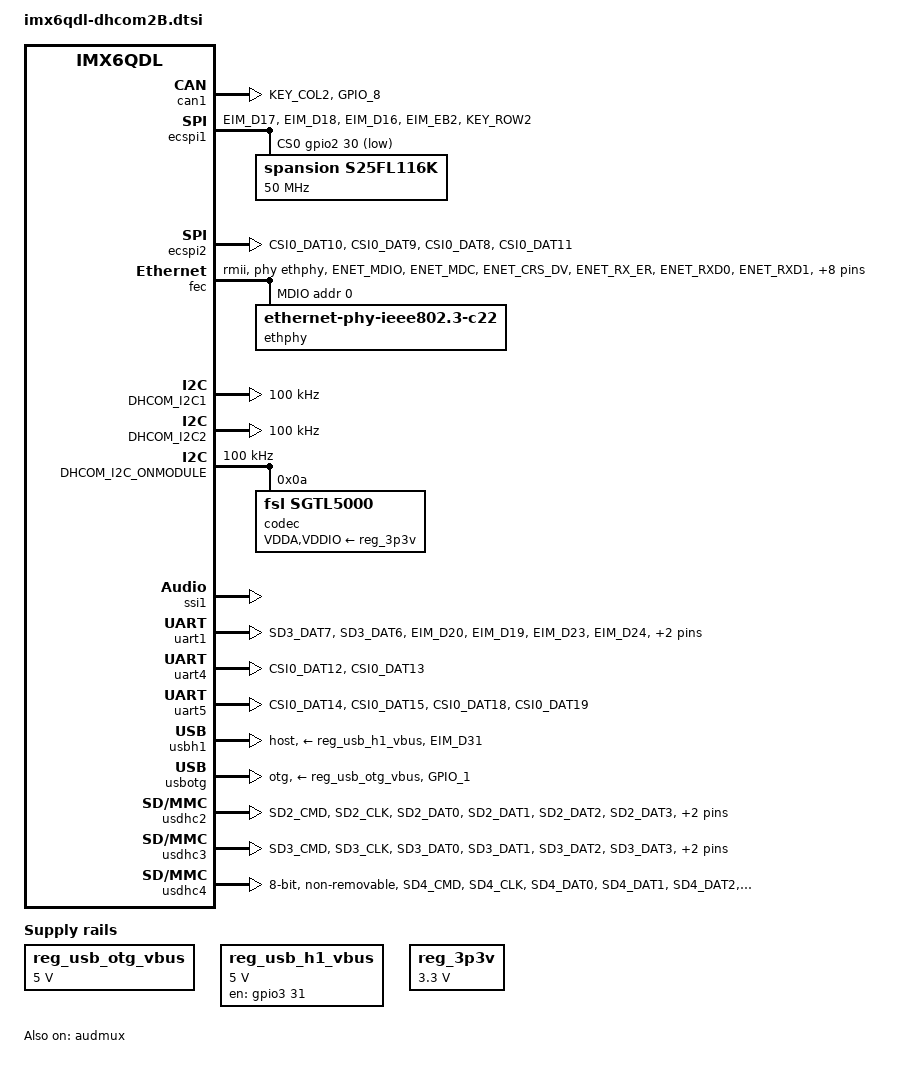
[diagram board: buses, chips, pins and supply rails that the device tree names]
/*
 * Copyright 2015 DH electronics GmbH
 *
 * The code contained herein is licensed under the GNU General Public
 * License. You may obtain a copy of the GNU General Public License
 * Version 2 or later at the following locations:
 *
 * http://www.opensource.org/licenses/gpl-license.html
 * http://www.gnu.org/copyleft/gpl.html
 */
#include <dt-bindings/gpio/gpio.h>
#include <dt-bindings/clock/imx6qdl-clock.h>
#define DHCOM_HW200								// Use it in other device tree files, e.g. imx6qdl-dhcom_cfg-xxxx.dtsi

/ {
	aliases {
		mmcblk0 = &usdhc2;
		mmcblk1 = &usdhc3;
		mmcblk2 = &usdhc4;
		mmcblk3 = &usdhc1; 						// Unused at dhcom, put at the end to be compatible with uboot
	};

	memory {
		reg = <0 0>;							// Will be filled by uboot
	};
	
	chosen {
		bootargs = "console=ttymxc0,115200";
	};

	regulators {
		compatible = "simple-bus";

		reg_usb_otg_vbus: usb_otg_vbus {
			compatible = "regulator-fixed";
			regulator-name = "usb_otg_vbus";
			regulator-min-microvolt = <5000000>;
			regulator-max-microvolt = <5000000>;
		};

		reg_usb_h1_vbus: usb_h1_vbus {
			compatible = "regulator-fixed";
			regulator-name = "usb_h1_vbus";
			regulator-min-microvolt = <5000000>;
			regulator-max-microvolt = <5000000>;
			gpio = <&gpio3 31 0>;					// GPIO: USB Host 1 Power
			enable-active-high;
		};

		reg_3p3v: 3P3V {
			compatible = "regulator-fixed";
			regulator-name = "3P3V";
			regulator-min-microvolt = <3300000>;
			regulator-max-microvolt = <3300000>;
			regulator-always-on;
		};
	};

	sound {
		compatible = "fsl,imx-audio-sgtl5000";
		model = "imx-sgtl5000";
		ssi-controller = <&ssi1>;
		audio-codec = <&codec>;
		audio-routing =
			"MIC_IN", "Mic Jack",
			"Mic Jack", "Mic Bias",
			"LINE_IN", "Line In Jack",
			"Headphone Jack", "HP_OUT";
		mux-int-port = <1>;
		mux-ext-port = <3>;
	};
};

&audmux {
	pinctrl-names = "default";
	pinctrl-0 = <&pinctrl_dhcom_audmux_int>;				// AUD3 <-> sgtl5000
	status = "okay";
};

&can1 {										// CAN
	pinctrl-names = "default";
	pinctrl-0 = <&pinctrl_dhcom_flexcan1>;
	status = "okay";
};

&ecspi1 {									// ********** SPI 1 **********
	fsl,spi-num-chipselects = <4>;
	cs-gpios = <&gpio2 30 1>, <0>, <&gpio4 11 1>, <0>;			// SS0, (SS1), SS2, (SS3)
	pinctrl-names = "default";
	pinctrl-0 = <&pinctrl_dhcom_ecspi1>;
	status = "okay";

	s25fl116k@0 {								// SPI Flash: Spansion S25FL116K0PMFI010 (used to store bootloader)
		#address-cells = <1>;
		#size-cells = <1>;
		compatible = "spansion,s25fl116k", "jedec,spi-nor";
		spi-max-frequency = <50000000>;
		reg = <0>;							// SS0
		m25p,fast-read;
	};
};

&ecspi2 {									// ********** SPI 2 **********
	fsl,spi-num-chipselects = <4>;
	cs-gpios = <&gpio5 29 1>, <0>, <0>, <0>;				// SS0, (SS1), (SS2), (SS3)
	pinctrl-names = "default";
	pinctrl-0 = <&pinctrl_dhcom_ecspi2>;
	status = "okay";
};

#ifndef DHCOM_ETH_1G
&fec {										// Ethernet (100MBit)
	pinctrl-names = "default";
	pinctrl-0 = <&pinctrl_dhcom_enet_100M>;
	phy-mode = "rmii";
	phy-reset-gpios = <&gpio5 0 GPIO_ACTIVE_LOW>;
	//phy-reset-duration = <1>;						// 1ms is the default value
	phy-reset-post-delay = <1>;
	phy-handle = <&ethphy>;
	//local-mac-address = [00 11 22 33 44 55];				// Is set by the bootloader
	power-gpios = <&gpio1 7 GPIO_ACTIVE_LOW>;				// Power for LAN-Transformer 7499111614A (Isn't yet supported by driver)
	status = "okay";

	mdio {									// PHY: SMSC LAN8710Ai
		#address-cells = <1>;
		#size-cells = <0>;

		ethphy: ethernet-phy@0 {
			compatible = "ethernet-phy-ieee802.3-c22";
			reg = <0>;
			max-speed = <100>;
		};
	};
};
#endif

#define DHCOM_I2C1                  i2c1					// Use this define in board files!
#define DHCOM_I2C1_PINCTRL          pinctrl_dhcom_i2c1				// ==> /dev/i2c-0
&DHCOM_I2C1 {									// ********** I2C 1 **********
	clock-frequency = <100000>;
	pinctrl-names = "default";
	pinctrl-0 = <&DHCOM_I2C1_PINCTRL>;
	status = "okay";
};

#define DHCOM_I2C2                  i2c2					// Use this define in board files!
#define DHCOM_I2C2_PINCTRL          pinctrl_dhcom_i2c2				// ==> /dev/i2c-1
&DHCOM_I2C2 {									// ********** I2C 2 **********
	clock-frequency = <100000>;
	pinctrl-names = "default";
	pinctrl-0 = <&DHCOM_I2C2_PINCTRL>;
	status = "okay";
};

#define DHCOM_I2C_ONMODULE          i2c3					// Use this define in board files!
#define DHCOM_I2C_ONMODULE_PINCTRL  pinctrl_dhcom_i2c3				// ==> /dev/i2c-2
&DHCOM_I2C_ONMODULE {								// ****** I2C onModule *******
	clock-frequency = <100000>;
	pinctrl-names = "default";
	pinctrl-0 = <&DHCOM_I2C_ONMODULE_PINCTRL>;
	status = "okay";

	codec: sgtl5000@0a {							// Audio codec SGTL5000XNAA3/R2
		compatible = "fsl,sgtl5000";
		reg = <0x0a>;
		clocks = <&clks IMX6QDL_CLK_CKO>;
		VDDA-supply = <&reg_3p3v>;
		VDDIO-supply = <&reg_3p3v>;
	};

	/* TODO PMIC */
	/*
	pmic: ltc3676@3c {							// Power Management LTC3676EUJ#PBF
		compatible = "lltc,ltc3676";
		pinctrl-names = "default";
		pinctrl-0 = <&pinctrl_dhcom_pmic_hw200>;
		reg = <0x3c>;
		interrupt-parent = <&gpio6>;
		interrupts = <27 2>;

		regulators {
			sw1_reg: sw1 {						// VCC_SOC
				regulator-min-microvolt = <787500>;
				regulator-max-microvolt = <1527272>;
				lltc,fb-voltage-divider = <100000 110000>;
				regulator-suspend-mem-microvolt = <1040000>;
				regulator-ramp-delay = <7000>;
				regulator-boot-on;
				regulator-always-on;
			};
			sw2_reg: sw2 {						// VCC_3V3
				regulator-min-microvolt = <1885714>;
				regulator-max-microvolt = <3657142>;
				lltc,fb-voltage-divider = <100000 28000>;
				regulator-ramp-delay = <7000>;
				regulator-boot-on;
				regulator-always-on;
			};
			sw3_reg: sw3 {						// VCC_ARM
				regulator-min-microvolt = <787500>;
				regulator-max-microvolt = <1527272>;
				lltc,fb-voltage-divider = <100000 110000>;
				regulator-suspend-mem-microvolt = <980000>;
				regulator-ramp-delay = <7000>;
				regulator-boot-on;
				regulator-always-on;
			};
			sw4_reg: sw4 {						// VCC_DDR3
				regulator-min-microvolt = <855571>;
				regulator-max-microvolt = <1659291>;
				lltc,fb-voltage-divider = <100000 93100>;
				regulator-ramp-delay = <7000>;
				regulator-boot-on;
				regulator-always-on;
			};
			ldo1_reg: ldo1 {					// VCC_SNVS
				regulator-min-microvolt = <3240306>;
				regulator-max-microvolt = <3240306>;
				lltc,fb-voltage-divider = <102000 29400>;
				regulator-boot-on;
				regulator-always-on;
			};
			ldo2_reg: ldo2 {					// VCC_2V5_LDO2
				regulator-min-microvolt = <2484708>;
				regulator-max-microvolt = <2484708>;
				lltc,fb-voltage-divider = <100000 41200>;
				regulator-boot-on;
				regulator-always-on;
			};
		};
	};*/

	tsc2004@49 {								// Touch controller TI TSC2014 (onModule)
		compatible = "ti,tsc2014", "ti,tsc2004";
		reg = <0x49>;
		vio-supply = <&reg_3p3v>;
		pinctrl-names = "default";
		pinctrl-0 = <&pinctrl_dhcom_tsc2004_hw200>;
		interrupts-extended = <&gpio6 28 IRQ_TYPE_EDGE_FALLING>;
		status = "disabled";						// It isn't actived by default (if needed it should be actived in dts layers above)
	};

	/* Will be replaced, because there is a address conflict with the RTC
	/*
	eeprom@50 {								// EEPROM Microchip 24AA02E48T-I/OT
		compatible = "atmel,24c02";
		reg = <0x50>;
		pagesize = <8>;
	};*/

	/* If not available use internal rtc (snvs-rtc-lp) */
	rtc@56 {								// Micro Crystal RV-3029-C3 (onModule)
		device_type = "rtc";						// ==> /dev/rtc0
		compatible = "microc,rtc-rv3029c3", "microc,rtc-rv3029c2";
		pinctrl-names = "default";
		pinctrl-0 = <&pinctrl_dhcom_rtc_hw200>;
		reg = <0x56>;
		interrupt-parent = <&gpio6>;
		interrupts = <29 2>;
		irq-gpios = <&gpio6 29 0>;
		status = "disabled";						// TODO: If address conflict with eeprom is fixed change status to "okay"
	};
};

&weim {										// Memory interface is not active by default
	status = "disabled";
};

&ssi1 {
	status = "okay";
};

&uart1 {									// UART 1 (FF)
	pinctrl-names = "default";						// ==> /dev/ttymxc0
	pinctrl-0 = <&pinctrl_dhcom_uart1>;
	fsl,uart-has-rtscts;
	dtr-gpios = <&gpio3 24 GPIO_ACTIVE_LOW>;
	dsr-gpios = <&gpio3 25 GPIO_ACTIVE_LOW>;
	dcd-gpios = <&gpio3 23 GPIO_ACTIVE_LOW>;
	rng-gpios = <&gpio2 31 GPIO_ACTIVE_LOW>;
	status = "okay";
};

&uart4 {									// UART 3 (STD)
	pinctrl-names = "default";						// ==> /dev/ttymxc3
	pinctrl-0 = <&pinctrl_dhcom_uart4>;
	status = "okay";
};

&uart5 {									// UART 2 (BT)
	pinctrl-names = "default";						// ==> /dev/ttymxc4
	pinctrl-0 = <&pinctrl_dhcom_uart5>;
	fsl,uart-has-rtscts;
	status = "okay";
};

&usbh1 {									// USB Host 1
	pinctrl-names = "default";
	pinctrl-0 = <&pinctrl_dhcom_usbh1>;
	vbus-supply = <&reg_usb_h1_vbus>;
	status = "okay";
	dr_mode = "host";
//	maximum-speed = "full-speed";						// Reducing speed (full-speed = 12M)
};

&usbotg {									// USB OTG
	vbus-supply = <&reg_usb_otg_vbus>;
	pinctrl-names = "default";
	pinctrl-0 = <&pinctrl_dhcom_usbotg>;					// Defined USB OTG ID pin
	disable-over-current;
	status = "okay";
	dr_mode = "otg";							// "host", "peripheral" or "otg" default = "otg"
//	maximum-speed = "full-speed";						// Reducing speed (full-speed = 12M)
};

&usdhc2 {									// SD card (external via DHCOM)
	pinctrl-names = "default";
	pinctrl-0 = <&pinctrl_dhcom_usdhc2>;
	cd-gpios = <&gpio6 16 GPIO_ACTIVE_HIGH>;
	keep-power-in-suspend;
	status = "okay";
};

&usdhc3 {									// Micro SD card (onModule)
	pinctrl-names = "default";
	pinctrl-0 = <&pinctrl_dhcom_usdhc3>;
	cd-gpios = <&gpio7 8 GPIO_ACTIVE_LOW>;
	fsl,wp-controller;
	keep-power-in-suspend;
	status = "okay";
};

&usdhc4 {									// eMMC (onModule)
	pinctrl-names = "default";
	pinctrl-0 = <&pinctrl_dhcom_usdhc4>;
	non-removable;
	bus-width = <8>;
	no-1-8-v;
	keep-power-in-suspend;
	status = "okay";
};

&iomuxc {
	pinctrl-names = "default";
	pinctrl-0 = <&pinctrl_dhcom_hog_base>;

	imx6qdl-dhcom_base {
		pinctrl_dhcom_hog_base: hog_base_grp {
			fsl,pins = <                                       	// DHCOM HW Version  | 100/200 | 300 | 400 |
				MX6QDL_PAD_EIM_A19__GPIO2_IO19      0x120B0	// Code_HW_0 (#51)        0       1     0
				MX6QDL_PAD_EIM_A23__GPIO6_IO06      0x120B0	// Code_HW_1 (#166)       0       0     1
				MX6QDL_PAD_EIM_A22__GPIO2_IO16      0x120B0	// Code_HW_2 (#48)        0       0     0
				MX6QDL_PAD_RGMII_TXC__GPIO6_IO19    0x120B0	// HW200: Code_DDR3_0 (#179)
				MX6QDL_PAD_RGMII_TD0__GPIO6_IO20    0x120B0	// HW200: Code_DDR3_1 (#180)
			>;
		};

		pinctrl_dhcom_pmic_hw200: pmic_hw200_grp {
			fsl,pins = <
				MX6QDL_PAD_RGMII_RD1__GPIO6_IO27    0x1B0B0	// GPIO 6.27: PMIC_IRQ#
			>;
		};

		pinctrl_dhcom_tsc2004_hw200: tsc2004_hw200_grp {
			fsl,pins = <
				MX6QDL_PAD_RGMII_RD2__GPIO6_IO28    0x120B0	// GPIO 6.28: Touch Interrupt resistive
			>;
		};

		pinctrl_dhcom_rtc_hw200: rtc_hw200_grp {
			fsl,pins = <
				MX6QDL_PAD_RGMII_RD3__GPIO6_IO29    0x120B0	// GPIO 6.29: RTC Interrupt pin (#189)
			>;
		};

		pinctrl_dhcom_audmux_int: audmux_int_grp {			// HW200: Audio on internal clock
			fsl,pins = <
				MX6QDL_PAD_CSI0_DAT7__AUD3_RXD      0x130b0
				MX6QDL_PAD_CSI0_DAT4__AUD3_TXC      0x130b0
				MX6QDL_PAD_CSI0_DAT5__AUD3_TXD      0x110b0
				MX6QDL_PAD_CSI0_DAT6__AUD3_TXFS     0x130b0
				MX6QDL_PAD_GPIO_0__CCM_CLKO1        0x030b0	// SGTL5000 sys_mclk
			>;
		};

		pinctrl_dhcom_ecspi1: ecspi1_grp {
			fsl,pins = <
				MX6QDL_PAD_EIM_D17__ECSPI1_MISO     0x100b1
				MX6QDL_PAD_EIM_D18__ECSPI1_MOSI     0x100b1
				MX6QDL_PAD_EIM_D16__ECSPI1_SCLK     0x100b1
				MX6QDL_PAD_EIM_EB2__GPIO2_IO30      0x1b0b0	// SS0
				MX6QDL_PAD_KEY_ROW2__GPIO4_IO11     0x1b0b0	// SS2
			>;
		};

		pinctrl_dhcom_ecspi2: ecspi2_grp {
			fsl,pins = <
				MX6QDL_PAD_CSI0_DAT10__ECSPI2_MISO  0x100b1
				MX6QDL_PAD_CSI0_DAT9__ECSPI2_MOSI   0x100b1
				MX6QDL_PAD_CSI0_DAT8__ECSPI2_SCLK   0x100b1
				MX6QDL_PAD_CSI0_DAT11__GPIO5_IO29   0x1b0b0	// SS0
			>;
		};

		pinctrl_dhcom_enet_100M: enet_100M_grp {			// 100MBit ethernet
			fsl,pins = <
				MX6QDL_PAD_ENET_MDIO__ENET_MDIO     0x1b0b0
				MX6QDL_PAD_ENET_MDC__ENET_MDC       0x1b0b0
				MX6QDL_PAD_ENET_CRS_DV__ENET_RX_EN  0x1b0b0
				MX6QDL_PAD_ENET_RX_ER__ENET_RX_ER   0x1b0b0
				MX6QDL_PAD_ENET_RXD0__ENET_RX_DATA0 0x1b0b0
				MX6QDL_PAD_ENET_RXD1__ENET_RX_DATA1 0x1b0b0
				MX6QDL_PAD_ENET_TX_EN__ENET_TX_EN   0x1b0b0
				MX6QDL_PAD_ENET_TXD0__ENET_TX_DATA0 0x1b0b0
				MX6QDL_PAD_ENET_TXD1__ENET_TX_DATA1 0x1b0b0
				MX6QDL_PAD_GPIO_16__ENET_REF_CLK    0x4001b0a8
				MX6QDL_PAD_EIM_WAIT__GPIO5_IO00     0x000b0	// ENET_RESET
				MX6QDL_PAD_RGMII_RD0__GPIO6_IO25    0x000b1	// ENET_INT
				MX6QDL_PAD_GPIO_7__GPIO1_IO07       0x120B0	// Power for LAN-Transformer 7499111614A
			>;
		};

		pinctrl_dhcom_flexcan1: flexcan1_grp {
			fsl,pins = <
				MX6QDL_PAD_KEY_COL2__FLEXCAN1_TX    0x1b0b0
				MX6QDL_PAD_GPIO_8__FLEXCAN1_RX      0x1b0b0
			>;
		};

		pinctrl_dhcom_i2c1: i2c1_grp {
			fsl,pins = <
				MX6QDL_PAD_EIM_D21__I2C1_SCL        0x4001b8b1
				MX6QDL_PAD_EIM_D28__I2C1_SDA        0x4001b8b1
			>;
		};

		pinctrl_dhcom_i2c2: i2c2_grp {
			fsl,pins = <
				MX6QDL_PAD_KEY_COL3__I2C2_SCL       0x4001b8b1
				MX6QDL_PAD_KEY_ROW3__I2C2_SDA       0x4001b8b1
			>;
		};

		pinctrl_dhcom_i2c3: i2c3_grp {
			fsl,pins = <
				MX6QDL_PAD_GPIO_3__I2C3_SCL         0x4001b8b1
				MX6QDL_PAD_GPIO_6__I2C3_SDA         0x4001b8b1
			>;
		};

		pinctrl_dhcom_uart1: uart1_grp {
			fsl,pins = <
				MX6QDL_PAD_SD3_DAT7__UART1_TX_DATA  0x1b0b1
				MX6QDL_PAD_SD3_DAT6__UART1_RX_DATA  0x1b0b1
				MX6QDL_PAD_EIM_D20__UART1_RTS_B     0x1b0b1
				MX6QDL_PAD_EIM_D19__UART1_CTS_B     0x4001b0b1
				MX6QDL_PAD_EIM_D23__GPIO3_IO23      0x4001b0b1	// DCD
				MX6QDL_PAD_EIM_D24__GPIO3_IO24      0x4001b0b1	// DTR
				MX6QDL_PAD_EIM_D25__GPIO3_IO25      0x4001b0b1	// DSR
				MX6QDL_PAD_EIM_EB3__GPIO2_IO31      0x4001b0b1	// RI
			>;
		};

		pinctrl_dhcom_uart4: uart4_grp {
			fsl,pins = <
				MX6QDL_PAD_CSI0_DAT12__UART4_TX_DATA 0x1b0b1
				MX6QDL_PAD_CSI0_DAT13__UART4_RX_DATA 0x1b0b1
			>;
		};
	
		pinctrl_dhcom_uart5: uart5_grp {
			fsl,pins = <
				MX6QDL_PAD_CSI0_DAT14__UART5_TX_DATA 0x1b0b1
				MX6QDL_PAD_CSI0_DAT15__UART5_RX_DATA 0x1b0b1
				MX6QDL_PAD_CSI0_DAT18__UART5_RTS_B   0x1b0b1
				MX6QDL_PAD_CSI0_DAT19__UART5_CTS_B   0x4001b0b1
			>;
		};

		pinctrl_dhcom_usbh1: usbh1_grp {
			fsl,pins = <
				MX6QDL_PAD_EIM_D31__GPIO3_IO31      0x120B0	// GPIO: USB Host 1 Power
			>;
		};

		pinctrl_dhcom_usbotg: usbotg_grp {
			fsl,pins = <
				MX6QDL_PAD_GPIO_1__USB_OTG_ID       0x17059
			>;
		};

		pinctrl_dhcom_usdhc2: usdhc2_grp {
			fsl,pins = <
				MX6QDL_PAD_SD2_CMD__SD2_CMD         0x17059
				MX6QDL_PAD_SD2_CLK__SD2_CLK         0x10059
				MX6QDL_PAD_SD2_DAT0__SD2_DATA0      0x17059
				MX6QDL_PAD_SD2_DAT1__SD2_DATA1      0x17059
				MX6QDL_PAD_SD2_DAT2__SD2_DATA2      0x17059
				MX6QDL_PAD_SD2_DAT3__SD2_DATA3      0x17059
				MX6QDL_PAD_NANDF_CS3__GPIO6_IO16    0x120B0	// GPIO: Card detection
			>;
		};

		pinctrl_dhcom_usdhc3: usdhc3_grp {
			fsl,pins = <
				MX6QDL_PAD_SD3_CMD__SD3_CMD         0x17059
				MX6QDL_PAD_SD3_CLK__SD3_CLK         0x10059
				MX6QDL_PAD_SD3_DAT0__SD3_DATA0      0x17059
				MX6QDL_PAD_SD3_DAT1__SD3_DATA1      0x17059
				MX6QDL_PAD_SD3_DAT2__SD3_DATA2      0x17059
				MX6QDL_PAD_SD3_DAT3__SD3_DATA3      0x17059
				MX6QDL_PAD_SD3_RST__GPIO7_IO08      0x120B0	// GPIO: Card detection
			>;
		};

		pinctrl_dhcom_usdhc4: usdhc4_grp {
			fsl,pins = <
				MX6QDL_PAD_SD4_CMD__SD4_CMD         0x17059
				MX6QDL_PAD_SD4_CLK__SD4_CLK         0x10059
				MX6QDL_PAD_SD4_DAT0__SD4_DATA0      0x17059
				MX6QDL_PAD_SD4_DAT1__SD4_DATA1      0x17059
				MX6QDL_PAD_SD4_DAT2__SD4_DATA2      0x17059
				MX6QDL_PAD_SD4_DAT3__SD4_DATA3      0x17059
				MX6QDL_PAD_SD4_DAT4__SD4_DATA4      0x17059
				MX6QDL_PAD_SD4_DAT5__SD4_DATA5      0x17059
				MX6QDL_PAD_SD4_DAT6__SD4_DATA6      0x17059
				MX6QDL_PAD_SD4_DAT7__SD4_DATA7      0x17059
			>;
		};
	};
};
